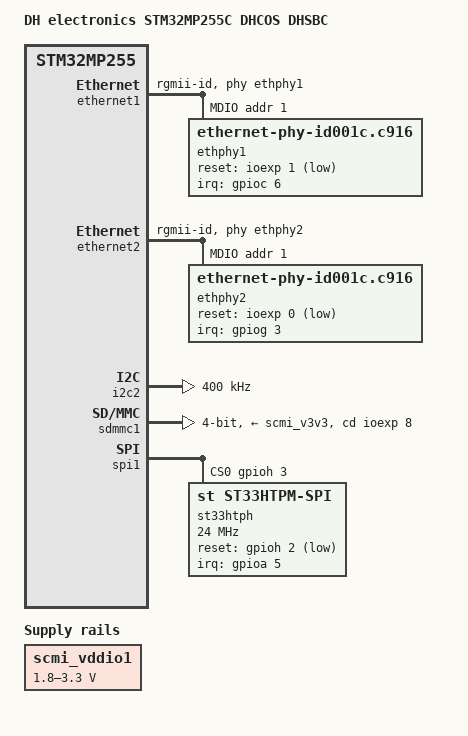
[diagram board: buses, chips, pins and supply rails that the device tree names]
// SPDX-License-Identifier: (GPL-2.0-or-later OR BSD-3-Clause)
/*
 * Copyright (C) 2025-2026 Marek Vasut <marex@nabladev.com>
 */

/dts-v1/;

#include "stm32mp255.dtsi"
#include "stm32mp25xc.dtsi"
#include "stm32mp25xx-dhcos-som.dtsi"

/ {
	model = "DH electronics STM32MP255C DHCOS DHSBC";
	compatible = "dh,stm32mp255c-dhcos-dhsbc", "dh,stm32mp255c-dhcos-som", "st,stm32mp255";

	aliases {
		ethernet0 = &ethernet1;
		ethernet1 = &ethernet2;
	};
};

&ethernet1 {
	phy-handle = <&ethphy1>;
	phy-mode = "rgmii-id";
	pinctrl-0 = <&eth1_mdio_pins_a &eth1_rgmii_pins_a>;
	pinctrl-1 = <&eth1_mdio_sleep_pins_a &eth1_rgmii_sleep_pins_a>;
	pinctrl-names = "default", "sleep";
	st,ext-phyclk;
	status = "okay";

	mdio {
		#address-cells = <1>;
		#size-cells = <0>;
		compatible = "snps,dwmac-mdio";

		ethphy1: ethernet-phy@1 {
			/* RTL8211F */
			compatible = "ethernet-phy-id001c.c916";
			interrupt-parent = <&gpioc>;
			interrupts = <6 IRQ_TYPE_LEVEL_LOW>;
			reg = <1>;
			realtek,clkout-disable;
			realtek,clkout-ssc-enable;
			realtek,rxc-ssc-enable;
			realtek,sysclk-ssc-enable;
			reset-assert-us = <15000>;
			reset-deassert-us = <55000>;
			reset-gpios = <&ioexp 1 GPIO_ACTIVE_LOW>;

			leds {
				#address-cells = <1>;
				#size-cells = <0>;

				led@0 {
					reg = <0>;
					color = <LED_COLOR_ID_GREEN>;
					function = LED_FUNCTION_WAN;
					linux,default-trigger = "netdev";
				};

				led@1 {
					reg = <1>;
					color = <LED_COLOR_ID_YELLOW>;
					function = LED_FUNCTION_WAN;
					linux,default-trigger = "netdev";
				};
			};
		};
	};
};

&ethernet2 {
	phy-handle = <&ethphy2>;
	phy-mode = "rgmii-id";
	pinctrl-0 = <&eth2_mdio_pins_a &eth2_rgmii_pins_b>;
	pinctrl-1 = <&eth2_mdio_sleep_pins_a &eth2_rgmii_sleep_pins_b>;
	pinctrl-names = "default", "sleep";
	st,ext-phyclk;
	status = "okay";

	mdio {
		#address-cells = <1>;
		#size-cells = <0>;
		compatible = "snps,dwmac-mdio";

		ethphy2: ethernet-phy@1 {
			/* RTL8211F */
			compatible = "ethernet-phy-id001c.c916";
			interrupt-parent = <&gpiog>;
			interrupts = <3 IRQ_TYPE_LEVEL_LOW>;
			reg = <1>;
			realtek,clkout-disable;
			realtek,clkout-ssc-enable;
			realtek,rxc-ssc-enable;
			realtek,sysclk-ssc-enable;
			reset-assert-us = <15000>;
			reset-deassert-us = <55000>;
			reset-gpios = <&ioexp 0 GPIO_ACTIVE_LOW>;

			leds {
				#address-cells = <1>;
				#size-cells = <0>;

				led@0 {
					reg = <0>;
					color = <LED_COLOR_ID_GREEN>;
					function = LED_FUNCTION_LAN;
					linux,default-trigger = "netdev";
				};

				led@1 {
					reg = <1>;
					color = <LED_COLOR_ID_YELLOW>;
					function = LED_FUNCTION_LAN;
					linux,default-trigger = "netdev";
				};
			};
		};
	};
};

&gpioa {
	gpio-line-names = "DHSBC_HW-CODE_0", "DHSBC_HW-CODE_1", "DHSBC_HW-CODE_2", "",
			  "DHCOS-E", "DHCOS-J", "", "",
			  "DHCOS-D", "", "", "",
			  "", "", "", "";
};

&i2c2 {
	#address-cells = <1>;
	#size-cells = <0>;
	pinctrl-names = "default", "sleep";
	pinctrl-0 = <&i2c2_pins_a>;
	pinctrl-1 = <&i2c2_sleep_pins_a>;
	i2c-scl-rising-time-ns = <57>;
	i2c-scl-falling-time-ns = <7>;
	clock-frequency = <400000>;
	status = "okay";
};

&scmi_vddio1 {
	regulator-min-microvolt = <1800000>;
	regulator-max-microvolt = <3300000>;
	regulator-settling-time-up-us = <1000>;
	regulator-settling-time-down-us = <100000>;
};

&sdmmc1_b4_pins_a {
	pins1 {
		slew-rate = <1>;
	};

	pins2 {
		slew-rate = <2>;
	};
};

&sdmmc1_b4_od_pins_a {
	pins1 {
		slew-rate = <1>;
	};

	pins2 {
		slew-rate = <2>;
	};

	pins3 {
		slew-rate = <1>;
	};
};

&sdmmc1 {
	pinctrl-names = "default", "opendrain", "sleep";
	pinctrl-0 = <&sdmmc1_b4_pins_a>;
	pinctrl-1 = <&sdmmc1_b4_od_pins_a>;
	pinctrl-2 = <&sdmmc1_b4_sleep_pins_a>;
	cd-gpios = <&ioexp 8 GPIO_ACTIVE_HIGH>;
	disable-wp;
	st,neg-edge;
	bus-width = <4>;
	vmmc-supply = <&scmi_v3v3>;
	vqmmc-supply = <&scmi_vddio1>;
	sd-uhs-sdr12;
	sd-uhs-sdr25;
	sd-uhs-sdr50;
	sd-uhs-ddr50;
	sd-uhs-sdr104;
	status = "okay";
};

&spi1 {
	pinctrl-names = "default", "sleep";
	pinctrl-0 = <&spi1_pins_b>;
	pinctrl-1 = <&spi1_sleep_pins_b>;
	cs-gpios = <&gpioh 3 0>;
	status = "okay";

	st33htph: tpm@0 {
		compatible = "st,st33htpm-spi", "tcg,tpm_tis-spi";
		reg = <0>;
		interrupt-parent = <&gpioa>;
		interrupts = <5 IRQ_TYPE_LEVEL_LOW>;
		reset-gpios = <&gpioh 2 GPIO_ACTIVE_LOW>;
		spi-max-frequency = <24000000>;
	};
};

&spi8 {
	pinctrl-names = "default", "sleep";
	pinctrl-0 = <&spi8_pins_b>;
	pinctrl-1 = <&spi8_sleep_pins_b>;
	cs-gpios = <&gpioz 6 0>;
};
